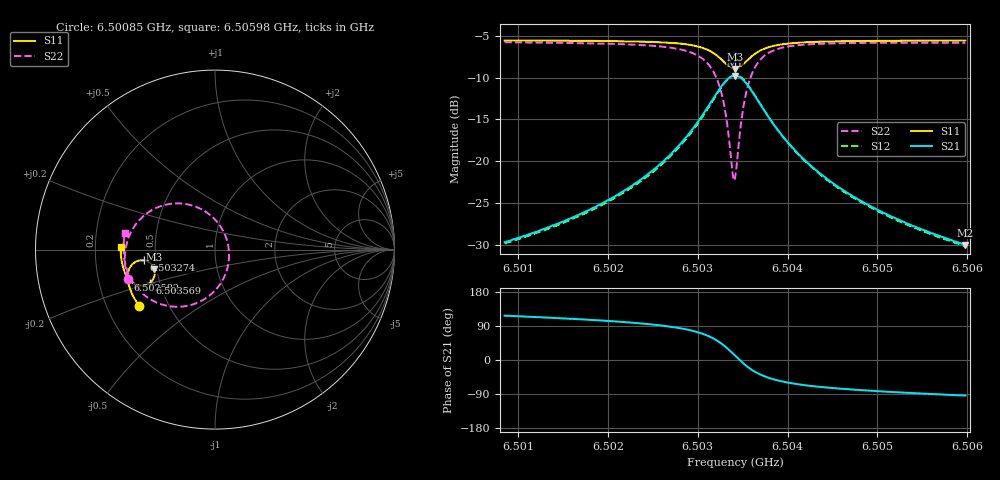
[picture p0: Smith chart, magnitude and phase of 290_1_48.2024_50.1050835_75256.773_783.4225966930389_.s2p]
#  HZ  S  RI  R  50.00
! Rohde & Schwarz Vector Network Analyzer
! Rohde-Schwarz,ZNB20-2Port,1311601062101988,3.16
! Created: UTC 3/20/2024, 11:49:02 AM
! freq[Hz]  re:S11  im:S11  re:S21  im:S21  re:S12  im:S12  re:S22  im:S22
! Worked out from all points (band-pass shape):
!   401 points, 6.50085 GHz to 6.50598 GHz, reference 50 ohm
!   highest |S21| = -9.76 dB at 6.503415 GHz (marker M1); lowest = -30.0 dB at 6.50598 GHz (marker M2)
!   |S21| within 3 dB of the highest: 6.503158 GHz to 6.503671 GHz (512.4 kHz wide, 0.00788 % of centre)
!   lowest |S11| = -9.0 dB at 6.503415 GHz (marker M3), VSWR 2.10, Z = 24.2 - j6.05 ohm
!   |S11| at or under -10 dB: nowhere
!   |S22| runs from -22.3 to -5.8 dB; largest |S21 - S12| = 0.011
!   S11 on the Smith chart (normalised r, x): 6.50085 GHz: 0.34, -0.30; 6.502582 GHz: 0.33, -0.15; 6.503274 GHz: 0.43, -0.06; 6.503569 GHz: 0.44, -0.20; 6.50598 GHz: 0.31, +0.01
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6.5008502e9  -0.4217 -0.3155  -0.015 0.0292  -0.0133 0.0295  -0.487 -0.163
6.5017095e9  -0.4593 -0.2529  -0.0145 0.0467  -0.012 0.0463  -0.5019 -0.0733
6.502184e9  -0.4763 -0.2113  -0.0116 0.0658  -0.00866 0.0647  -0.4996 -0.00729
6.5025687e9  -0.4858 -0.1695  -0.00283 0.095  0.000654 0.0927  -0.4812 0.0679
6.5025815e9  -0.4859 -0.1678  -0.00231 0.0962  0.00129 0.094  -0.48 0.071
6.5028252e9  -0.4852 -0.1327  0.0159 0.1293  0.0198 0.1254  -0.4415 0.1404
6.5030048e9  -0.4737 -0.0994  0.0506 0.1652  0.0536 0.1599  -0.3731 0.2063
6.5031715e9  -0.4391 -0.0666  0.1279 0.1983  0.1292 0.192  -0.231 0.2568
6.5032741e9  -0.3967 -0.0597  0.2129 0.1894  0.2132 0.184  -0.0831 0.2286
6.5033254e9  -0.3712 -0.0684  0.2609 0.1613  0.2619 0.1567  -0.00335 0.1709
6.5033895e9  -0.3449 -0.0948  0.3081 0.098  0.3107 0.093  0.0675 0.0492
6.5034152e9  -0.3386 -0.1091  0.3182 0.066  0.3211 0.0602  0.078 -0.0101
6.503428e9  -0.3367 -0.1169  0.3207 0.0495  0.3239 0.0431  0.0785 -0.0406
6.5035049e9  -0.343 -0.1613  0.3034 -0.0442  0.3054 -0.0539  0.0205 -0.2042
6.5035691e9  -0.364 -0.1867  0.2609 -0.0974  0.2598 -0.1085  -0.0751 -0.2852
6.5036717e9  -0.403 -0.2015  0.1873 -0.133  0.1821 -0.1422  -0.223 -0.3183
6.5038384e9  -0.4486 -0.1917  0.1069 -0.1299  0.0999 -0.1348  -0.368 -0.2721
6.5040179e9  -0.4757 -0.1703  0.0631 -0.1103  0.0571 -0.1124  -0.439 -0.208
6.5042744e9  -0.4961 -0.1404  0.0334 -0.0862  0.0288 -0.0868  -0.4817 -0.1363
6.5046463e9  -0.5114 -0.1019  0.0152 -0.0642  0.0119 -0.0636  -0.5034 -0.064
6.5051337e9  -0.5211 -0.057  0.00491 -0.0473  0.00277 -0.0464  -0.5099 0.00369
6.5059801e9  -0.5259 0.0142  -0.00212 -0.0316  -0.00346 -0.0309  -0.5016 0.0921
